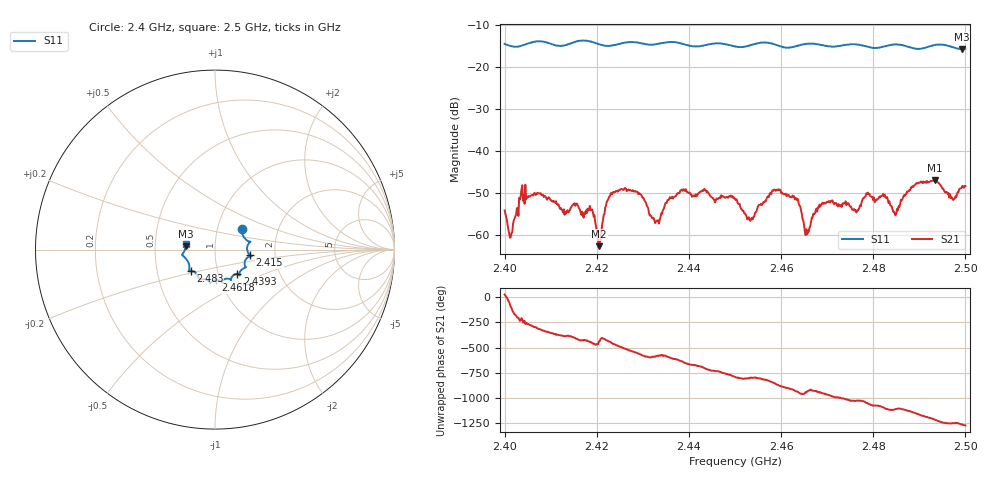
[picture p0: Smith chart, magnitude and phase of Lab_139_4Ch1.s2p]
# Hz S RI R 50
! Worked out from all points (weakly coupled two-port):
!   601 points, 2.4 GHz to 2.5 GHz, reference 50 ohm
!   highest |S21| = -46.93 dB at 2.4933 GHz (marker M1); lowest = -62.7 dB at 2.4205 GHz (marker M2)
!   lowest |S11| = -15.7 dB at 2.4992 GHz (marker M3), VSWR 1.39, Z = 36 + j1.35 ohm
!   |S11| at or under -10 dB: start of sweep to end of sweep
!   S12 and S22 are empty: the file has one direction only
!   S11 on the Smith chart (normalised r, x): 2.4 GHz: 1.31, +0.31; 2.415 GHz: 1.48, -0.10; 2.4393 GHz: 1.23, -0.35; 2.4618 GHz: 0.95, -0.33; 2.483 GHz: 0.74, -0.18; 2.5 GHz: 0.72, +0.05
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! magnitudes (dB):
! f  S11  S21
! 2.4 GHz  -14.5  -54.2
! 2.4012 GHz  -14.9  -60.7
! 2.404 GHz  -14.8  -51.9
! 2.415 GHz  -14.1  -52.6
! 2.4167 GHz  -13.7  -55.2
! 2.419 GHz  -14.0  -53.9
! 2.4205 GHz  -14.6  -62.7
! 2.4227 GHz  -15.0  -51.0
! 2.4252 GHz  -14.4  -49.1
! 2.4333 GHz  -14.4  -56.5
! 2.4393 GHz  -14.7  -49.1
! 2.45 GHz  -15.1  -51.5
! 2.4533 GHz  -14.8  -56.7
! 2.4585 GHz  -14.6  -49.2
! 2.4618 GHz  -15.3  -50.8
! 2.4655 GHz  -14.5  -58.7
! 2.4667 GHz  -14.4  -55.9
! 2.483 GHz  -14.9  -51.0
! 2.4833 GHz  -14.8  -52.4
! 2.4933 GHz  -14.7  -46.9
! 2.4992 GHz  -15.7  -48.8
! 2.5 GHz  -15.6  -48.4
